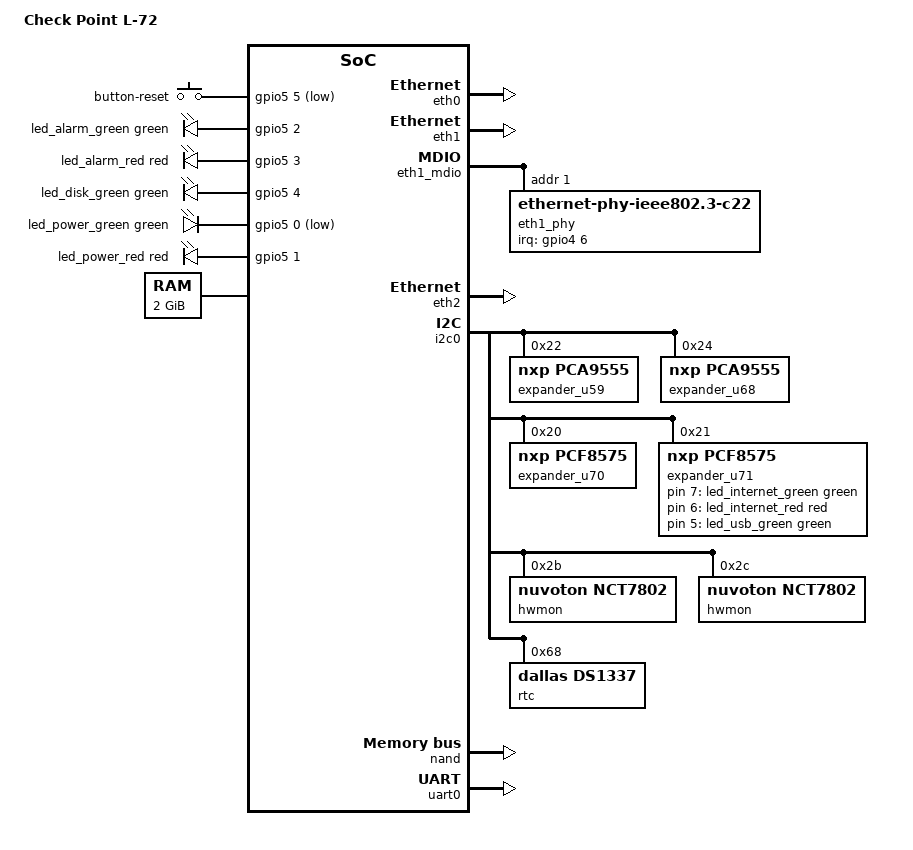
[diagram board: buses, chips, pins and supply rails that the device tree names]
// SPDX-License-Identifier: GPL-2.0-or-later OR MIT

/dts-v1/;
#include "alpine-al31400.dtsi"

#include <dt-bindings/gpio/gpio.h>
#include <dt-bindings/input/input.h>
#include <dt-bindings/interrupt-controller/irq.h>
#include <dt-bindings/leds/common.h>

/ {
	model = "Check Point L-72";
	compatible = "checkpoint,l-72", "annapurna-labs,alpine";

	aliases {
		led-boot = &led_alarm_green;
		led-failsafe = &led_alarm_red;
		led-running = &led_power_green;
		led-upgrade = &led_disk_green;
		serial0 = &uart0;
	};

	keys {
		compatible = "gpio-keys";

		button-reset {
			linux,code = <KEY_RESTART>;
			debounce-interval = <60>;
			gpios = <&gpio5 5 GPIO_ACTIVE_LOW>;
		};
	};

	leds {
		compatible = "gpio-leds";

		led_alarm_green: alarm-green {
			function = LED_FUNCTION_ALARM;
			color = <LED_COLOR_ID_GREEN>;
			gpios = <&gpio5 2 GPIO_ACTIVE_HIGH>;
		};

		led_alarm_red: alarm-red {
			function = LED_FUNCTION_ALARM;
			color = <LED_COLOR_ID_RED>;
			gpios = <&gpio5 3 GPIO_ACTIVE_HIGH>;
		};

		led_disk_green: disk-green {
			function = LED_FUNCTION_DISK;
			color = <LED_COLOR_ID_GREEN>;
			gpios = <&gpio5 4 GPIO_ACTIVE_HIGH>;
		};

		led_internet_green: internet-green {
			function = LED_FUNCTION_WAN;
			color = <LED_COLOR_ID_GREEN>;
			gpios = <&expander_u71 7 GPIO_ACTIVE_HIGH>;
		};

		led_internet_red: internet-red {
			function = LED_FUNCTION_WAN;
			color = <LED_COLOR_ID_RED>;
			gpios = <&expander_u71 6 GPIO_ACTIVE_HIGH>;
		};

		led_power_green: power-green {
			function = LED_FUNCTION_POWER;
			color = <LED_COLOR_ID_GREEN>;
			gpios = <&gpio5 0 GPIO_ACTIVE_LOW>;
		};

		led_power_red: power-red {
			function = LED_FUNCTION_POWER;
			color = <LED_COLOR_ID_RED>;
			gpios = <&gpio5 1 GPIO_ACTIVE_HIGH>;
		};

		led_usb_green: usb-green {
			function = LED_FUNCTION_USB;
			color = <LED_COLOR_ID_GREEN>;
			gpios = <&expander_u71 5 GPIO_ACTIVE_HIGH>;
		};
	};

	memory@0 {
		device_type = "memory";
		reg = <0x0 0x0 0x0 0x80000000>;
	};
};

&eth0 {		/* 2.5G SGMII uplink -> DX3234 */
	status = "okay";
	al,media-type = <6>;
	al,serdes-grp = <3>;
	al,serdes-lane = <3>;
	al,mdio-freq = <1>;
	al,an-disable;
};

&eth1 {
	status = "okay";
	al,media-type = <1>;
	al,mdio-freq = <0>;
};

&eth1_mdio {
	eth1_phy: ethernet-phy@1 {
		compatible = "ethernet-phy-ieee802.3-c22";
		reg = <1>;
		interrupt-parent = <&gpio4>;
		interrupts = <6 IRQ_TYPE_LEVEL_LOW>;
	};
};

&eth2 {		/* 2.5G SGMII uplink -> DX3234 */
	status = "okay";
	al,media-type = <6>;
	al,serdes-grp = <3>;
	al,serdes-lane = <1>;
	al,mdio-freq = <1>;
	al,an-disable;
};

&i2c0 {
	status = "okay";

	expander_u59: gpio@22 {
		compatible = "nxp,pca9555";
		reg = <0x22>;
		gpio-controller;
		#gpio-cells = <2>;
	};

	expander_u68: gpio@24 {
		compatible = "nxp,pca9555";
		reg = <0x24>;
		gpio-controller;
		#gpio-cells = <2>;
	};

	expander_u70: gpio@20 {
		compatible = "nxp,pcf8575";
		reg = <0x20>;
		gpio-controller;
		#gpio-cells = <2>;
	};

	expander_u71: gpio@21 {
		compatible = "nxp,pcf8575";
		reg = <0x21>;
		gpio-controller;
		#gpio-cells = <2>;
	};

	hwmon@2b {
		compatible = "nuvoton,nct7802";
		reg = <0x2b>;
	};

	hwmon@2c {
		compatible = "nuvoton,nct7802";
		reg = <0x2c>;
	};

	rtc@68 {
		compatible = "dallas,ds1337";
		reg = <0x68>;
	};
};

&nand {
	status = "okay";

	partitions {
		compatible = "fixed-partitions";
		#address-cells = <1>;
		#size-cells = <1>;

		partition@0 {
			label = "u-boot";
			reg = <0x00000000 0x00280000>;
			read-only;
		};

		partition@280000 {
			label = "u-boot-env";
			reg = <0x00280000 0x00080000>;
		};

		partition@300000 {
			label = "checkpoint-settings";
			reg = <0x00300000 0x00080000>;
			read-only;
		};

		partition@380000 {
			label = "kernel";
			reg = <0x00380000 0x01000000>;
		};

		partition@1380000 {
			label = "ubi";
			reg = <0x01380000 0x7ec80000>;
		};
	};
};

&uart0 {
	status = "okay";
};
